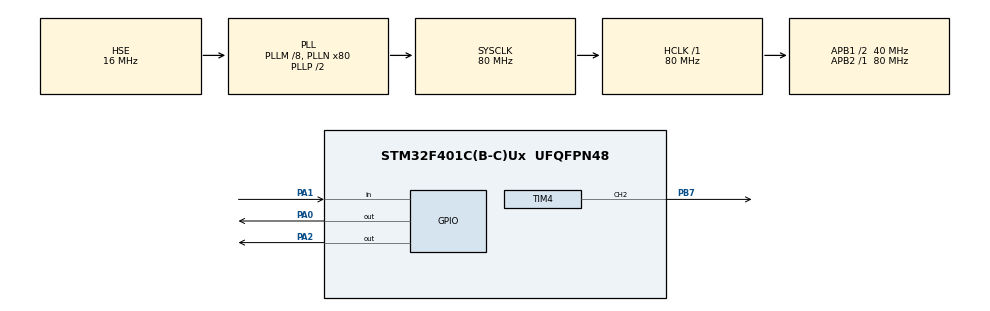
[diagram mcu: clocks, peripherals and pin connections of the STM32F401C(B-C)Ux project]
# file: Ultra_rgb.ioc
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Dma.Request0=TIM4_CH2
Dma.Request1=TIM4_UP
Dma.TIM4_CH2.0.Direction=DMA_MEMORY_TO_PERIPH
Dma.TIM4_CH2.0.FIFOMode=DMA_FIFOMODE_DISABLE
Dma.TIM4_CH2.0.Instance=DMA1_Stream3
Dma.TIM4_CH2.0.MemDataAlignment=DMA_MDATAALIGN_WORD
Dma.TIM4_CH2.0.MemInc=DMA_MINC_ENABLE
Dma.TIM4_CH2.0.Mode=DMA_NORMAL
Dma.TIM4_CH2.0.PeriphDataAlignment=DMA_PDATAALIGN_WORD
Dma.TIM4_CH2.0.PeriphInc=DMA_PINC_DISABLE
Dma.TIM4_CH2.0.Priority=DMA_PRIORITY_VERY_HIGH
Dma.TIM4_UP.1.Direction=DMA_MEMORY_TO_PERIPH
Dma.TIM4_UP.1.FIFOMode=DMA_FIFOMODE_DISABLE
Dma.TIM4_UP.1.Instance=DMA1_Stream6
Dma.TIM4_UP.1.MemDataAlignment=DMA_MDATAALIGN_WORD
Dma.TIM4_UP.1.MemInc=DMA_MINC_ENABLE
Dma.TIM4_UP.1.Mode=DMA_NORMAL
Dma.TIM4_UP.1.PeriphDataAlignment=DMA_PDATAALIGN_WORD
Dma.TIM4_UP.1.PeriphInc=DMA_PINC_DISABLE
Dma.TIM4_UP.1.Priority=DMA_PRIORITY_VERY_HIGH
Mcu.Family=STM32F4
Mcu.Name=STM32F401C(B-C)Ux
Mcu.Package=UFQFPN48
NVIC.DMA1_Stream3_IRQn=true\:0\:0\:false\:false\:true\:false\:true\:true
NVIC.DMA1_Stream6_IRQn=true\:0\:0\:false\:false\:true\:false\:true\:true
NVIC.PriorityGroup=NVIC_PRIORITYGROUP_4
PA0-WKUP.Signal=GPIO_Output
PA1.Signal=GPIO_Input
PA13.Mode=Serial_Wire
PA13.Signal=SYS_JTMS-SWDIO
PA14.Mode=Serial_Wire
PA14.Signal=SYS_JTCK-SWCLK
PA2.Signal=GPIO_Output
PB7.Signal=S_TIM4_CH2
PH0\ -\ OSC_IN.Mode=HSE-External-Oscillator
PH0\ -\ OSC_IN.Signal=RCC_OSC_IN
PH1\ -\ OSC_OUT.Mode=HSE-External-Oscillator
PH1\ -\ OSC_OUT.Signal=RCC_OSC_OUT
ProjectManager.HeapSize=0x200
ProjectManager.StackSize=0x400
ProjectManager.TargetToolchain=STM32CubeIDE
RCC.48MHZClocksFreq_Value=40000000
RCC.AHBFreq_Value=80000000
RCC.APB1CLKDivider=RCC_HCLK_DIV2
RCC.APB1Freq_Value=40000000
RCC.APB1TimFreq_Value=80000000
RCC.APB2Freq_Value=80000000
RCC.APB2TimFreq_Value=80000000
RCC.CortexFreq_Value=80000000
RCC.HCLKFreq_Value=80000000
RCC.HSE_VALUE=16000000
RCC.HSI_VALUE=16000000
RCC.LSE_VALUE=32768
RCC.PLLM=8
RCC.PLLN=80
RCC.PLLSourceVirtual=RCC_PLLSOURCE_HSE
RCC.SYSCLKFreq_VALUE=80000000
RCC.SYSCLKSource=RCC_SYSCLKSOURCE_PLLCLK
RCC.VCOOutputFreq_Value=160000000
SH.S_TIM4_CH2.0=TIM4_CH2,PWM Generation2 CH2
TIM1.Prescaler=79
TIM4.Channel-PWM\ Generation2\ CH2=TIM_CHANNEL_2
TIM4.Period=99
VP_TIM1_VS_ClockSourceINT.Mode=Internal
VP_TIM4_VS_ClockSourceINT.Mode=Internal
board=custom

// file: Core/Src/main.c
/* USER CODE BEGIN Header */
/**
  ******************************************************************************
  * @file           : main.c
  * @brief          : Main program body
  ******************************************************************************
  * @attention
  *
  * Copyright (c) 2023 STMicroelectronics.
  * All rights reserved.
  *
  * This software is licensed under terms that can be found in the LICENSE file
  * in the root directory of this software component.
  * If no LICENSE file comes with this software, it is provided AS-IS.
  *
  ******************************************************************************
  */
/* USER CODE END Header */
#include "main.h"
#include "dma.h"
#include "tim.h"
#include "gpio.h"

/* USER CODE BEGIN Includes */
#define NEOPIXEL_ZERO 32 //ZERO=(ARR+1)0.32
#define NEOPIXEL_ONE 64 // ONE=(ARR+1)0.64
#define NUM_PIXELS 32  //Number of LEDs  model WS2812b
#define DMA_BUFF_SIZE 769//(NUM_PIXELS*24)+1

//Ultrasonic
#define TRIG_PIN GPIO_PIN_0
#define TRIG_PORT GPIOA
#define ECHO_PIN GPIO_PIN_1
#define ECHO_PORT GPIOA
#define Buzzer_PIN GPIO_PIN_2
#define Buzzer_PORT GPIOA
/* USER CODE END Includes */

/* USER CODE BEGIN PTD */
 typedef union
  {
    struct
    {
      uint8_t b;
      uint8_t r;
      uint8_t g;
    } color;
    uint32_t data;
  } PixelRGB_t;

  typedef union
  {
    struct
    {
      uint8_t w;
      uint8_t b;
      uint8_t r;
      uint8_t g;
    } color;
    uint32_t data;
  }
    PixelRGBW_t;

/* USER CODE END PTD */

/* USER CODE BEGIN PD */
    PixelRGB_t pixel[NUM_PIXELS] = {0};
    uint32_t dmaBuffer[DMA_BUFF_SIZE] = {0};
    uint32_t *pBuff;
    int n, j, k;
    uint16_t stepSize;

    //For Ultrasonic
    uint32_t pMillis;
    uint32_t val1 = 0;
    uint32_t val2 = 0;
    uint16_t distance=0;
/* USER CODE END PD */

void SystemClock_Config(void);

/* USER CODE BEGIN 0 */
void HAL_TIM_PWM_PulseFinishedCallback(TIM_HandleTypeDef *htim)
{
  HAL_TIM_PWM_Stop_DMA(htim, TIM_CHANNEL_2);
}

void RGB_Setup(){
	for (n = (NUM_PIXELS - 1); n > 0; n--)
		{
		 	  pixel[n].data = pixel[n-1].data;
		}
		 	  if (k<255)
		 	      {
		 	        pixel[0].color.g =255; //[254, 0]
		 	        pixel[0].color.r =255-k;  //[1, 255]
		 	        pixel[0].color.b =0;
		 	        j++;
		 	      }
		 	  else if (k<510){
		 		  pixel[0].color.g =255; //[254, 0]
		 		  pixel[0].color.r =0;  //[1, 255]
		 		  pixel[0].color.b =k-254;
		 		  j++;
		 	  }
		 	  else if(k<765){
		 		  pixel[0].color.g =765-k; //[254, 0]
		 		  pixel[0].color.r =0;  //[1, 255]
		 		  pixel[0].color.b =255;
		 		  j++;
		 	  }
		 	  else if(k<1020){

		 		  pixel[0].color.g =0; //[254, 0]
		 		  pixel[0].color.r =k-764;  //[1, 255]
		 		  pixel[0].color.b =255;
		 		  j++;

		 	  }
		 	  else if(k<1275){

		 	  		  pixel[0].color.g =0; //[254, 0]
		 	  		  pixel[0].color.r =255;  //[1, 255]
		 	  		  pixel[0].color.b =1275-k;
		 	  		  j++;
		 	  	  }
		 	  else if(k<1530){

		 	  	  pixel[0].color.g =k-1274; //[254, 0]
		 	  	  pixel[0].color.r =255;  //[1, 255]
		 	  	  pixel[0].color.b =0;
		 	  	  j++;
		 	  	  	  }
		 	  	    k = (k + stepSize) % 1530;
		 	  	  // not so bright
		 	  	  	pixel[0].color.g >>= 1;
		 	  	  	pixel[0].color.r >>= 1;
		 	  	  	pixel[0].color.b >>= 1;

		 	  	  pBuff = dmaBuffer;
		 	  	  	      for (n = 0; n < NUM_PIXELS; n++)
		 	  	  	      {
		 	  	  	         for (j = 23; j >= 0; j--)
		 	  	  	         {
		 	  	  	           if ((pixel[n].data >> j) & 0x01)
		 	  	  	           {
		 	  	  	             *pBuff = NEOPIXEL_ONE;
		 	  	  	           }
		 	  	  	           else
		 	  	  	           {
		 	  	  	             *pBuff = NEOPIXEL_ZERO;
		 	  	  	           }
		 	  	  	           pBuff++;
		 	  	  	       }
		 	  	  	      }
		 	  	  	     HAL_TIM_PWM_Start_DMA(&htim4, TIM_CHANNEL_2, dmaBuffer, DMA_BUFF_SIZE);

		 	  	  	      HAL_Delay(10);
}
void Ultrasonic_Start(){
	HAL_GPIO_WritePin(TRIG_PORT, TRIG_PIN, GPIO_PIN_SET);
    __HAL_TIM_SET_COUNTER(&htim1, 0);
    while (__HAL_TIM_GET_COUNTER (&htim1) < 10);  // wait for 10 ms
		  HAL_GPIO_WritePin(TRIG_PORT, TRIG_PIN, GPIO_PIN_RESET);

		  pMillis = HAL_GetTick();
    while (!(HAL_GPIO_ReadPin (ECHO_PORT, ECHO_PIN)) && pMillis + 10 >  HAL_GetTick());
		  val1 = __HAL_TIM_GET_COUNTER (&htim1);

		  pMillis = HAL_GetTick();
    while ((HAL_GPIO_ReadPin (ECHO_PORT, ECHO_PIN)) && pMillis + 50 > HAL_GetTick());
		  val2 = __HAL_TIM_GET_COUNTER (&htim1);

		  distance = (val2-val1)* 0.034/2;
		  HAL_Delay(50);
}

/* USER CODE END 0 */

int main(void)
{

  /* MCU Configuration--------------------------------------------------------*/

  /* Reset of all peripherals, Initializes the Flash interface and the Systick. */
  HAL_Init();

  /* Configure the system clock */
  SystemClock_Config();

  /* Initialize all configured peripherals */
  MX_GPIO_Init();
  MX_DMA_Init();
  MX_TIM4_Init();
  MX_TIM1_Init();
  /* USER CODE BEGIN 2 */
  //Ultrasonic
    HAL_TIM_Base_Start(&htim1);
    HAL_GPIO_WritePin(TRIG_PORT, TRIG_PIN, GPIO_PIN_RESET);
  /* USER CODE END 2 */

  /* Infinite loop */
  /* USER CODE BEGIN WHILE */
  k = 0;
  stepSize = 4;
  while (1)
  {
    /* USER CODE END WHILE */

    /* USER CODE BEGIN 3 */
	  RGB_Setup();
	  Ultrasonic_Start();
	  if(distance<=20){
	  	  	 HAL_GPIO_WritePin(Buzzer_PORT,Buzzer_PIN,1);
	  	  }
	  	   else{
	  	     HAL_GPIO_WritePin(Buzzer_PORT,Buzzer_PIN,0);
	  	  }

  }
  /* USER CODE END 3 */
}

void SystemClock_Config(void)
{
  RCC_OscInitTypeDef RCC_OscInitStruct = {0};
  RCC_ClkInitTypeDef RCC_ClkInitStruct = {0};

  /** Configure the main internal regulator output voltage
  */
  __HAL_RCC_PWR_CLK_ENABLE();
  __HAL_PWR_VOLTAGESCALING_CONFIG(PWR_REGULATOR_VOLTAGE_SCALE2);

  /** Initializes the RCC Oscillators according to the specified parameters
  * in the RCC_OscInitTypeDef structure.
  */
  RCC_OscInitStruct.OscillatorType = RCC_OSCILLATORTYPE_HSE;
  RCC_OscInitStruct.HSEState = RCC_HSE_ON;
  RCC_OscInitStruct.PLL.PLLState = RCC_PLL_ON;
  RCC_OscInitStruct.PLL.PLLSource = RCC_PLLSOURCE_HSE;
  RCC_OscInitStruct.PLL.PLLM = 8;
  RCC_OscInitStruct.PLL.PLLN = 80;
  RCC_OscInitStruct.PLL.PLLP = RCC_PLLP_DIV2;
  RCC_OscInitStruct.PLL.PLLQ = 4;
  if (HAL_RCC_OscConfig(&RCC_OscInitStruct) != HAL_OK)
  {
    Error_Handler();
  }

  /** Initializes the CPU, AHB and APB buses clocks
  */
  RCC_ClkInitStruct.ClockType = RCC_CLOCKTYPE_HCLK|RCC_CLOCKTYPE_SYSCLK
                              |RCC_CLOCKTYPE_PCLK1|RCC_CLOCKTYPE_PCLK2;
  RCC_ClkInitStruct.SYSCLKSource = RCC_SYSCLKSOURCE_PLLCLK;
  RCC_ClkInitStruct.AHBCLKDivider = RCC_SYSCLK_DIV1;
  RCC_ClkInitStruct.APB1CLKDivider = RCC_HCLK_DIV2;
  RCC_ClkInitStruct.APB2CLKDivider = RCC_HCLK_DIV1;

  if (HAL_RCC_ClockConfig(&RCC_ClkInitStruct, FLASH_LATENCY_2) != HAL_OK)
  {
    Error_Handler();
  }
}

void Error_Handler(void)
{
  __disable_irq();
  while (1)
  {
  }
}
